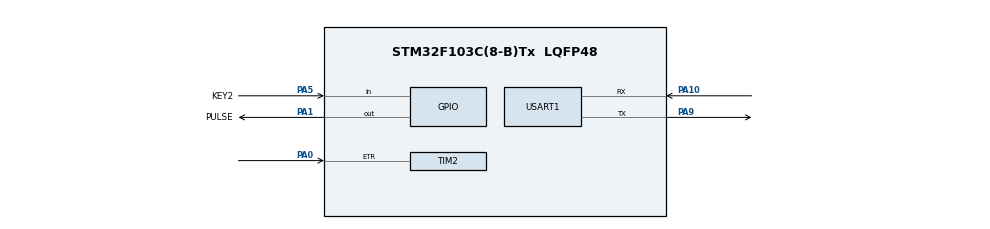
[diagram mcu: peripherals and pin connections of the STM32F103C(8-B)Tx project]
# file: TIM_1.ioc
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Mcu.Family=STM32F1
Mcu.Name=STM32F103C(8-B)Tx
Mcu.Package=LQFP48
NVIC.PriorityGroup=NVIC_PRIORITYGROUP_4
PA0-WKUP.Signal=S_TIM2_CH1_ETR
PA1.GPIO_Label=PULSE
PA1.Signal=GPIO_Output
PA10.Mode=Asynchronous
PA10.Signal=USART1_RX
PA13.Mode=JTAG_5_pins
PA13.Signal=SYS_JTMS-SWDIO
PA14.Mode=JTAG_5_pins
PA14.Signal=SYS_JTCK-SWCLK
PA15.Mode=JTAG_5_pins
PA15.Signal=SYS_JTDI
PA5.GPIO_Label=KEY2
PA5.GPIO_PuPd=GPIO_PULLUP
PA5.Signal=GPIO_Input
PA9.Mode=Asynchronous
PA9.Signal=USART1_TX
PB3.Mode=JTAG_5_pins
PB3.Signal=SYS_JTDO-TRACESWO
PB4.Mode=JTAG_5_pins
PB4.Signal=SYS_NJTRST
ProjectManager.HeapSize=0x200
ProjectManager.StackSize=0x400
ProjectManager.TargetToolchain=MDK-ARM V5.32
RCC.APB1Freq_Value=8000000
RCC.APB2Freq_Value=8000000
SH.S_TIM2_CH1_ETR.0=TIM2_ETR,ClockSourceETR_Mode2
USART1.VirtualMode=VM_ASYNC
board=custom

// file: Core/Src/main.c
/* USER CODE BEGIN Header */
/**
  ******************************************************************************
  * @file           : main.c
  * @brief          : Main program body
  ******************************************************************************
  * @attention
  *
  * Copyright (c) 2022 STMicroelectronics.
  * All rights reserved.
  *
  * This software is licensed under terms that can be found in the LICENSE file
  * in the root directory of this software component.
  * If no LICENSE file comes with this software, it is provided AS-IS.
  *
  ******************************************************************************
  */
/* USER CODE END Header */
#include "main.h"
#include "tim.h"
#include "usart.h"
#include "gpio.h"

/* USER CODE BEGIN Includes */
#include <stdio.h>
/* USER CODE END Includes */

/* USER CODE BEGIN PV */
uint8_t Result = 0;
/* USER CODE END PV */

void SystemClock_Config(void);

int main(void)
{

  /* MCU Configuration--------------------------------------------------------*/

  /* Reset of all peripherals, Initializes the Flash interface and the Systick. */
  HAL_Init();

  /* Configure the system clock */
  SystemClock_Config();

  /* Initialize all configured peripherals */
  MX_GPIO_Init();
  MX_TIM2_Init();
  MX_USART1_UART_Init();
  /* USER CODE BEGIN 2 */
  HAL_TIM_Base_Start_IT(&htim2);
  printf("Timer count function test: \n");
  /* USER CODE END 2 */

  /* Infinite loop */
  while (1)
  {

    /* USER CODE BEGIN 3 */
    if (HAL_GPIO_ReadPin(GPIOA, KEY2_Pin) == GPIO_PIN_RESET)
    {
      HAL_Delay(10);
      if (HAL_GPIO_ReadPin(GPIOA, KEY2_Pin) == GPIO_PIN_RESET)
      {
        HAL_GPIO_WritePin(GPIOA, PULSE_Pin, GPIO_PIN_SET);
        HAL_Delay(1);
        HAL_GPIO_WritePin(GPIOA, PULSE_Pin, GPIO_PIN_RESET);
        HAL_Delay(1);
        Result = __HAL_TIM_GET_COUNTER(&htim2);
        printf("Count = %d", Result);
      }
      while (HAL_GPIO_ReadPin(GPIOA, KEY2_Pin) == GPIO_PIN_RESET);
    }
  }
  /* USER CODE END 3 */
}

void SystemClock_Config(void)
{
  RCC_OscInitTypeDef RCC_OscInitStruct = {0};
  RCC_ClkInitTypeDef RCC_ClkInitStruct = {0};

  /** Initializes the RCC Oscillators according to the specified parameters
  * in the RCC_OscInitTypeDef structure.
  */
  RCC_OscInitStruct.OscillatorType = RCC_OSCILLATORTYPE_HSI;
  RCC_OscInitStruct.HSIState = RCC_HSI_ON;
  RCC_OscInitStruct.HSICalibrationValue = RCC_HSICALIBRATION_DEFAULT;
  RCC_OscInitStruct.PLL.PLLState = RCC_PLL_NONE;
  if (HAL_RCC_OscConfig(&RCC_OscInitStruct) != HAL_OK)
  {
    Error_Handler();
  }

  /** Initializes the CPU, AHB and APB buses clocks
  */
  RCC_ClkInitStruct.ClockType = RCC_CLOCKTYPE_HCLK|RCC_CLOCKTYPE_SYSCLK
                              |RCC_CLOCKTYPE_PCLK1|RCC_CLOCKTYPE_PCLK2;
  RCC_ClkInitStruct.SYSCLKSource = RCC_SYSCLKSOURCE_HSI;
  RCC_ClkInitStruct.AHBCLKDivider = RCC_SYSCLK_DIV1;
  RCC_ClkInitStruct.APB1CLKDivider = RCC_HCLK_DIV1;
  RCC_ClkInitStruct.APB2CLKDivider = RCC_HCLK_DIV1;

  if (HAL_RCC_ClockConfig(&RCC_ClkInitStruct, FLASH_LATENCY_0) != HAL_OK)
  {
    Error_Handler();
  }
}

/* USER CODE BEGIN 4 */
int fputc (int ch, FILE *f)
{
    HAL_UART_Transmit(&huart1, (uint8_t *)&ch, 1, HAL_MAX_DELAY);
    return ch;
}
int fgetc(FILE *f)
{
    uint8_t ch = 0;
    HAL_UART_Receive(&huart1, (uint8_t *)&ch, 1, HAL_MAX_DELAY);
    return ch;
}
/* USER CODE END 4 */

void Error_Handler(void)
{
  __disable_irq();
  while (1)
  {
  }
}
